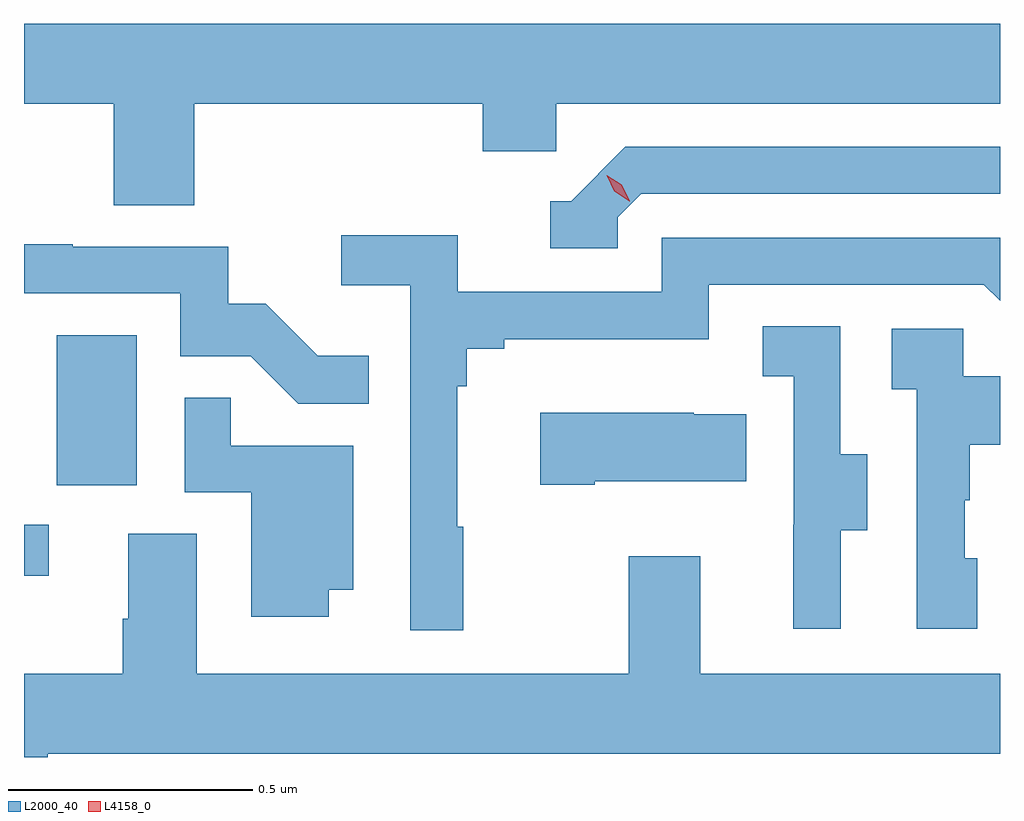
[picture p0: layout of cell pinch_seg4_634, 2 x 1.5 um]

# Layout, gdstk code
import gdstk
lib = gdstk.Library(unit=1e-6, precision=1e-09)
def R(c, l, rs):  # rectangles x0, y0, x1, y1
    for r in rs: c.add(gdstk.rectangle(r[:2], r[2:], *l))
def P(c, l, *ps):  # polygons
    for p in ps: c.add(gdstk.Polygon(p, *l))
L2000_40 = (2000, 40)
L4158_0 = (4158, 0)

pinch_seg4_634 = lib.new_cell('pinch_seg4_634')
R(pinch_seg4_634, L2000_40, [(1077.673,763.884,1077.724,763.989), (1077.74,764.07,1077.904,764.377)])
P(pinch_seg4_634, L2000_40, [(1078.022,764.852),(1078.613,764.852),(1078.613,764.754),(1078.764,764.754),(1078.764,764.852),(1079.673,764.852),(1079.673,765.016),(1077.673,765.016),(1077.673,764.852),(1077.857,764.852),(1077.857,764.644),(1078.022,764.644)],
  [(1078.89,764.619),(1078.938,764.667),(1079.673,764.667),(1079.673,764.763),(1078.905,764.763),(1078.794,764.652),(1078.751,764.652),(1078.751,764.556),(1078.89,764.556)],
  [(1078.573,763.985),(1078.561,763.985),(1078.561,764.273),(1078.58,764.273),(1078.58,764.35),(1078.657,764.35),(1078.657,764.369),(1079.076,764.369),(1079.076,764.481),(1079.64,764.481),(1079.673,764.448),(1079.673,764.577),(1078.98,764.577),(1078.98,764.466),(1078.562,764.466),(1078.562,764.582),(1078.323,764.582),(1078.323,764.48),(1078.464,764.48),(1078.464,763.773),(1078.573,763.773)],
  [(1078.379,764.335),(1078.275,764.335),(1078.168,764.442),(1078.092,764.442),(1078.092,764.559),(1077.773,764.559),(1077.773,764.564),(1077.673,764.564),(1077.673,764.463),(1077.993,764.463),(1077.993,764.334),(1078.138,764.334),(1078.235,764.237),(1078.379,764.237)],
  [(1079.347,763.978),(1079.401,763.978),(1079.401,764.133),(1079.346,764.133),(1079.346,764.396),(1079.187,764.396),(1079.187,764.293),(1079.25,764.293),(1079.25,763.989),(1079.249,763.989),(1079.249,763.776),(1079.347,763.776)],
  [(1079.626,763.92),(1079.601,763.92),(1079.601,764.039),(1079.611,764.039),(1079.611,764.153),(1079.673,764.153),(1079.673,764.293),(1079.598,764.293),(1079.598,764.391),(1079.451,764.391),(1079.451,764.267),(1079.502,764.267),(1079.502,763.776),(1079.626,763.776)],
  [(1078.297,763.856),(1078.348,763.856),(1078.348,764.151),(1078.097,764.151),(1078.097,764.249),(1078.002,764.249),(1078.002,764.055),(1078.139,764.055),(1078.139,763.8),(1078.297,763.8)],
  [(1078.843,764.078),(1079.153,764.078),(1079.153,764.215),(1079.045,764.215),(1079.045,764.218),(1078.731,764.218),(1078.731,764.071),(1078.843,764.071)],
  [(1077.722,763.52),(1079.673,763.52),(1079.673,763.684),(1079.059,763.684),(1079.059,763.924),(1078.912,763.924),(1078.912,763.684),(1078.027,763.684),(1078.027,763.97),(1077.887,763.97),(1077.887,763.796),(1077.875,763.796),(1077.875,763.684),(1077.673,763.684),(1077.673,763.512),(1077.722,763.512)])
P(pinch_seg4_634, L4158_0, [(1078.913,764.652),(1078.883,764.672),(1078.867,764.705),(1078.867,764.705),(1078.867,764.705),(1078.898,764.686),(1078.914,764.653),(1078.914,764.652)])

lib.write_gds('pinch_seg4_634.gds')
